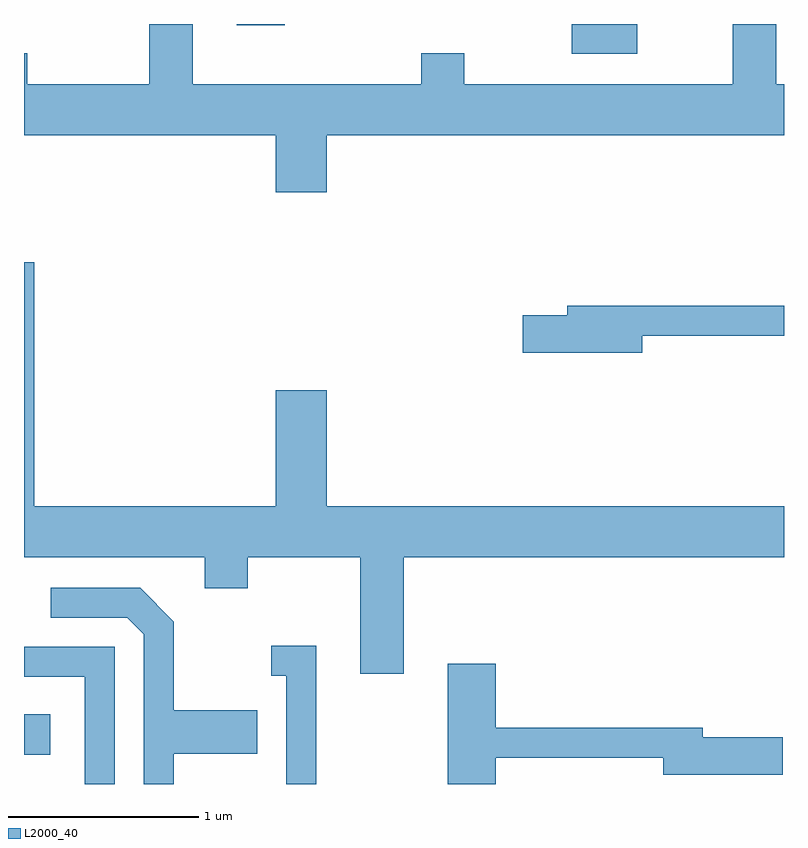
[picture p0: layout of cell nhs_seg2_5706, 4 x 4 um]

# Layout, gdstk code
import gdstk
lib = gdstk.Library(unit=1e-6, precision=1e-09)
def R(c, l, rs):  # rectangles x0, y0, x1, y1
    for r in rs: c.add(gdstk.rectangle(r[:2], r[2:], *l))
def P(c, l, *ps):  # polygons
    for p in ps: c.add(gdstk.Polygon(p, *l))
L2000_40 = (2000, 40)

nhs_seg2_5706 = lib.new_cell('nhs_seg2_5706')
R(nhs_seg2_5706, L2000_40, [(353.611,1033.956,353.749,1034.169), (356.493,1037.646,356.839,1037.802), (354.731,1037.796,354.984,1037.802)])
P(nhs_seg2_5706, L2000_40, [(353.611,1037.649),(353.611,1037.216),(354.936,1037.216),(354.936,1036.916),(355.204,1036.916),(355.204,1037.216),(357.611,1037.216),(357.611,1037.484),(357.569,1037.484),(357.569,1037.802),(357.341,1037.802),(357.341,1037.484),(355.929,1037.484),(355.929,1037.649),(355.701,1037.649),(355.701,1037.484),(354.499,1037.484),(354.499,1037.802),(354.271,1037.802),(354.271,1037.484),(353.629,1037.484),(353.629,1037.649)],
  [(355.609,1034.996),(357.611,1034.996),(357.611,1035.264),(355.204,1035.264),(355.204,1035.874),(354.936,1035.874),(354.936,1035.264),(353.664,1035.264),(353.664,1036.549),(353.611,1036.549),(353.611,1034.996),(354.561,1034.996),(354.561,1034.831),(354.789,1034.831),(354.789,1034.996),(355.381,1034.996),(355.381,1034.381),(355.609,1034.381)],
  [(356.864,1036.161),(357.611,1036.161),(357.611,1036.319),(356.471,1036.319),(356.471,1036.269),(356.236,1036.269),(356.236,1036.071),(356.864,1036.071)],
  [(354.399,1033.961),(354.839,1033.961),(354.839,1034.189),(354.399,1034.189),(354.399,1034.657),(354.222,1034.834),(353.753,1034.834),(353.753,1034.676),(354.154,1034.676),(354.241,1034.589),(354.241,1033.802),(354.399,1033.802)],
  [(355.149,1034.529),(354.913,1034.529),(354.913,1034.371),(354.991,1034.371),(354.991,1033.802),(355.149,1033.802)],
  [(354.089,1034.524),(353.611,1034.524),(353.611,1034.366),(353.931,1034.366),(353.931,1033.802),(354.089,1033.802)],
  [(356.094,1033.941),(356.976,1033.941),(356.976,1033.851),(357.604,1033.851),(357.604,1034.049),(357.184,1034.049),(357.184,1034.099),(356.094,1034.099),(356.094,1034.434),(355.841,1034.434),(355.841,1033.802),(356.094,1033.802)])

lib.write_gds('nhs_seg2_5706.gds')
